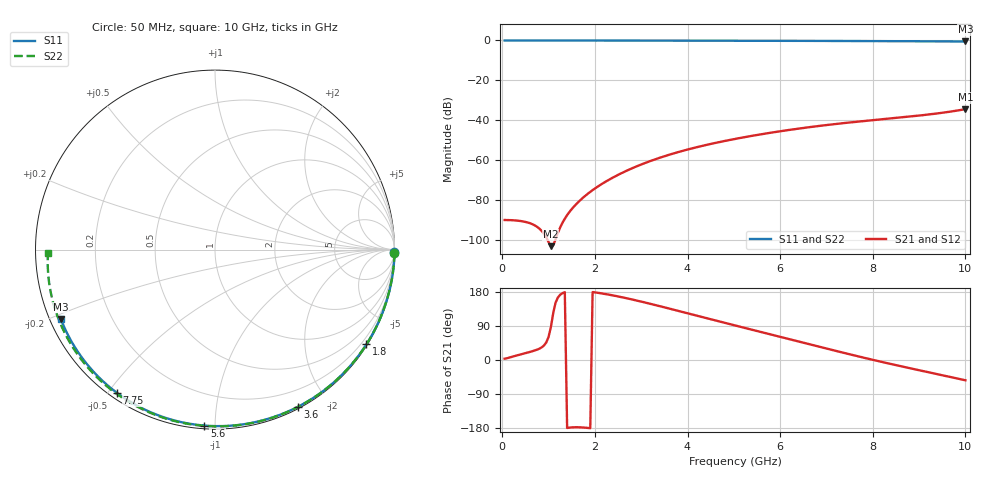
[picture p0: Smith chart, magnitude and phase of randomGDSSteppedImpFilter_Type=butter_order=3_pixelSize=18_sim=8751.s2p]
! freq	dB(S11)	phase(S11)	dB(S12)	phase(S12)
!  dB(S21)	phase(S21)	dB(S22)	phase(S22)
!S-par simulation data
#  GHz  S  DB  R 50
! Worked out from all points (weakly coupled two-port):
!   200 points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, 50 MHz to 10 GHz, reference 50 ohm
!   highest |S21| = -34.49 dB at 10 GHz (marker M1); lowest = -103.3 dB at 1.05 GHz (marker M2)
!   lowest |S11| = -0.5 dB at 10 GHz (marker M3), VSWR 33.47, Z = 1.56 - j10.7 ohm
!   |S11| at or under -10 dB: nowhere
!   |S22| runs from -0.6 to 0.0 dB; largest |S21 - S12| = 0
!   S11 on the Smith chart (normalised r, x): 50 MHz: open; 1.8 GHz: 0.03, -3.49; 3.6 GHz: 0.02, -1.65; 5.6 GHz: 0.02, -0.94; 7.75 GHz: 0.02, -0.53; 10 GHz: 0.03, -0.21
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0.05  -0.00 -0.9  -90.14 3.5  -90.14 3.5  -0.00 -1.0
0.55  -0.01 -9.9  -91.41 19.8  -91.41 19.8  -0.01 -11.5
1.05  -0.02 -18.8  -103.28 87.4  -103.28 87.4  -0.03 -21.8
1.65  -0.04 -29.4  -80.92 -177.5  -80.92 -177.5  -0.04 -33.9
1.7  -0.04 -30.3  -79.83 -177.8  -79.83 -177.8  -0.04 -34.9
1.75  -0.04 -31.1  -78.80 -178.2  -78.80 -178.2  -0.05 -35.9
1.8  -0.04 -32.0  -77.82 -178.7  -77.82 -178.7  -0.05 -36.9
2.1  -0.05 -37.2  -72.77 176.7  -72.77 176.7  -0.05 -42.9
2.5  -0.06 -44.0  -67.48 167.8  -67.48 167.8  -0.06 -50.7
2.95  -0.07 -51.6  -62.74 155.6  -62.74 155.6  -0.08 -59.3
3.4  -0.08 -59.1  -58.89 142.1  -58.89 142.1  -0.09 -67.8
3.6  -0.08 -62.3  -57.41 135.9  -57.41 135.9  -0.10 -71.5
4.3  -0.10 -73.5  -53.02 113.8  -53.02 113.8  -0.12 -84.2
5.05  -0.13 -85.1  -49.33 90.4  -49.33 90.4  -0.15 -97.3
5.6  -0.16 -93.4  -47.06 73.4  -47.06 73.4  -0.18 -106.6
6.15  -0.18 -101.5  -45.07 56.4  -45.07 56.4  -0.21 -115.7
6.7  -0.21 -109.5  -43.33 39.5  -43.33 39.5  -0.24 -124.7
7.25  -0.25 -117.3  -41.81 22.6  -41.81 22.6  -0.28 -133.6
7.75  -0.29 -124.4  -40.59 7.7  -40.59 7.7  -0.32 -141.7
8.35  -0.34 -132.8  -39.24 -9.4  -39.24 -9.4  -0.38 -151.3
9.2  -0.43 -144.6  -37.19 -32.1  -37.19 -32.1  -0.48 -165.2
10  -0.52 -155.8  -34.49 -53.5  -34.49 -53.5  -0.62 -178.7
